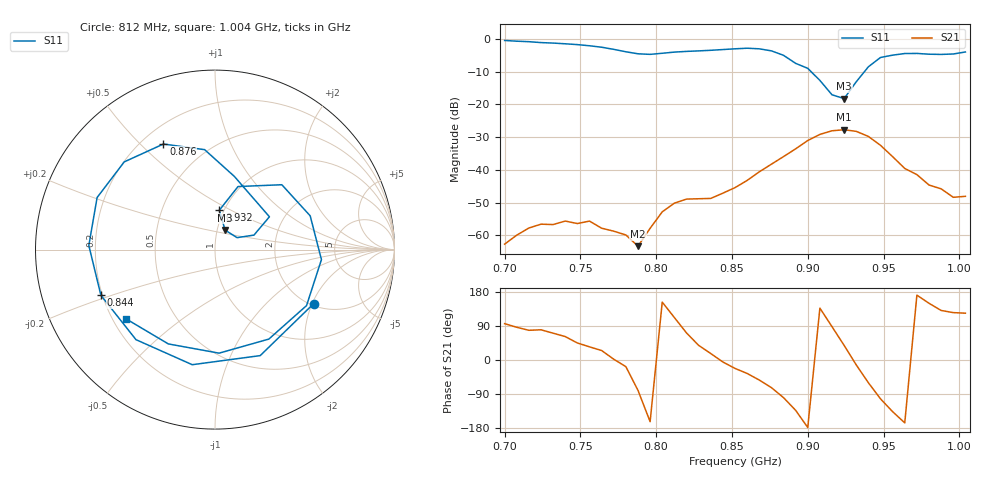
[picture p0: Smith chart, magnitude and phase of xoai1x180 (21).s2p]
# Hz S RI R 50
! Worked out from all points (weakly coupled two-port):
!   39 points, 700 MHz to 1.004 GHz, reference 50 ohm
!   highest |S21| = -27.76 dB at 924 MHz (marker M1); lowest = -63.3 dB at 788 MHz (marker M2)
!   lowest |S11| = -18.2 dB at 924 MHz (marker M3), VSWR 1.28, Z = 54.6 + j12 ohm
!   |S11| at or under -10 dB: 902.1 MHz to 937.5 MHz (35.32 MHz wide, 3.84 % of centre)
!   S12 and S22 are empty: the file has one direction only
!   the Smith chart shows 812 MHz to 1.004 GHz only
!   S11 on the Smith chart (normalised r, x): 812 MHz: 2.06, -2.05; 844 MHz: 0.19, -0.19; 876 MHz: 0.29, +0.59; 932 MHz: 0.95, +0.44; 1.004 GHz: 0.25, -0.32
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7e8  0.7603 0.5578  -7.59e-05 0.000731  0 0  0 0
7.24e8  0.8401 -0.2445  0.000264 0.00146  0 0  0 0
7.4e8  0.4576 -0.7031  0.000782 0.00146  0 0  0 0
7.56e8  -0.1943 -0.7583  0.00136 0.000942  0 0  0 0
7.72e8  -0.6629 -0.1904  0.00116 4.2e-05  0 0  0 0
7.8e8  -0.5875 0.2365  0.000968 -0.000306  0 0  0 0
7.88e8  -0.2314 0.5427  0.000117 -0.000675  0 0  0 0
7.96e8  0.2597 0.5169  -0.00122 -0.000382  0 0  0 0
8.04e8  0.5811 0.1541  -0.00203 0.00105  0 0  0 0
8.12e8  0.5491 -0.3018  -0.00117 0.00288  0 0  0 0
8.28e8  -0.1268 -0.6413  0.00283 0.00226  0 0  0 0
8.44e8  -0.6357 -0.2546  0.00439 -0.000403  0 0  0 0
8.52e8  -0.703 0.0229  0.00496 -0.00202  0 0  0 0
8.76e8  -0.2873 0.5882  0.0036 -0.0117  0 0  0 0
9e8  0.3033 0.1829  -0.028 -0.000935  0 0  0 0
9.08e8  0.217 0.0808  -0.0254 0.0237  0 0  0 0
9.24e8  0.0561 0.1087  0.032 0.0255  0 0  0 0
9.32e8  0.0242 0.2195  0.0377 -0.00869  0 0  0 0
9.48e8  0.3723 0.3614  -0.00512 -0.0231  0 0  0 0
9.56e8  0.5303 0.1882  -0.0115 -0.011  0 0  0 0
9.8e8  0.2999 -0.4986  -0.00507 0.00296  0 0  0 0
1.004e9  -0.4977 -0.3846  -0.00218 0.00329  0 0  0 0
